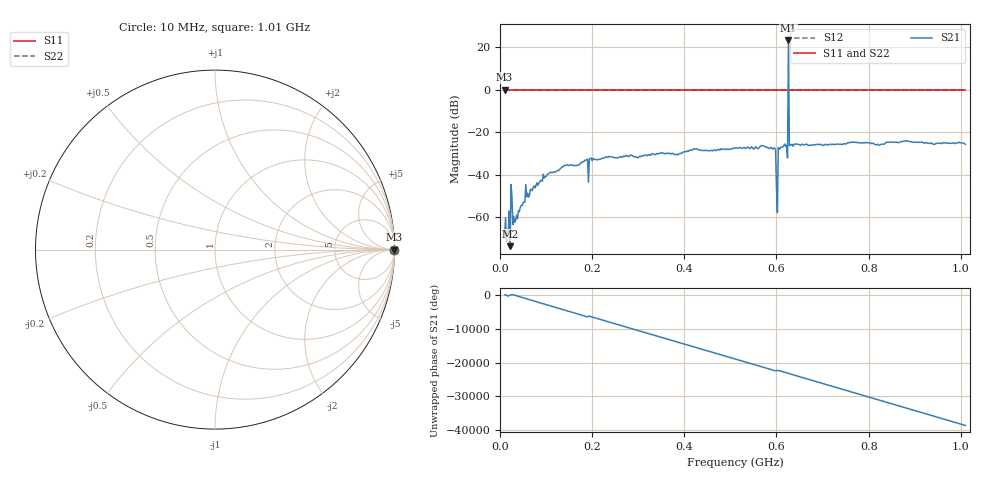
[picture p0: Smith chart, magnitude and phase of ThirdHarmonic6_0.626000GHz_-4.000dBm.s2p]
! 8/15/2025 8:36:39 PM
! C:\ANRITSUVNA\TEMP\TEMP.S2P
! CHANNEL.1
! TR.MEASUREMENT
! RAW.DATA
! RF.CORRECTION.OFF
! AVERAGING.OFF
! IF.BANDWIDTH: 5KHZ
! SWEEPTYPE:  FREQ.SWEEP(Linear)
! Reference Plane Port Info
! PORT:  PORT1  PORT2
! DISTANCE:  0  m  0  m
! TIME:  0  s  0  s
! PHASE.OFFSET:  0  deg.  0  deg.
! LOSS:  0  dB  0  dB
! REF.LOSS:  0  dB  0  dB
! REF.FREQ:  0  Hz  0  Hz
! Power Info
! POWER:  -20  dBm  -20  dBm
! EFF.POWER:  -20  dBm  -20  dBm
! SOURCE.ATTEN:  0  dB  0  dB
! TEST.ATTEN:  0  dB  0  dB
# GHZ S RI R 50.0
! FREQ.GHZ  S11RE  S11IM  S21RE  S21IM  S12RE  S12IM  S22RE  S22IM
!; PortSelection: Port_12
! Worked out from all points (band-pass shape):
!   501 points, 10 MHz to 1.01 GHz, reference 50 ohm
!   highest |S21| = 23.02 dB at 626 MHz (marker M1); lowest = -73.5 dB at 22 MHz (marker M2)
!   |S21| within 3 dB of the highest: 625.8912 MHz to 626.1214 MHz (230.3 kHz wide, 0.0368 % of centre)
!   lowest |S11| = 0.0 dB at 10 MHz (marker M3)
!   |S11| at or under -10 dB: nowhere
!   |S22| runs from 0.0 to 0.0 dB; largest |S21 - S12| = 15
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0.01  1 0  -0.000193 0.000302  1 0  1 0
0.018  1 0  -0.000273 0.000361  1 0  1 0
0.022  1 0  0.000198 7.44e-05  1 0  1 0
0.028  1 0  -0.00063 0.00026  1 0  1 0
0.032  1 0  0.000771 -1.1e-05  1 0  1 0
0.056  1 0  -0.00587 0.000246  1 0  1 0
0.098  1 0  -0.00873 -0.00198  1 0  1 0
0.178  1 0  -0.0194 -0.00374  1 0  1 0
0.344  1 0  0.0294 -0.00882  1 0  1 0
0.51  1 0  -0.0385 0.018  1 0  1 0
0.594  1 0  0.0405 0.0124  1 0  1 0
0.598  1 0  -0.0318 -0.023  1 0  1 0
0.602  1 0  0.00125 0.000323  1 0  1 0
0.608  1 0  -0.0414 -0.00234  1 0  1 0
0.62  1 0  0.0246 0.0394  1 0  1 0
0.622  1 0  0.0462 -0.0167  1 0  1 0
0.626  1 0  -9.851 -10.17  1 0  1 0
0.63  1 0  0.0501 0.0111  1 0  1 0
0.632  1 0  0.0188 -0.0465  1 0  1 0
0.678  1 0  -0.029 -0.0408  1 0  1 0
0.844  1 0  0.0467 0.0337  1 0  1 0
1.01  1 0  -0.0519 -0.00246  1 0  1 0
